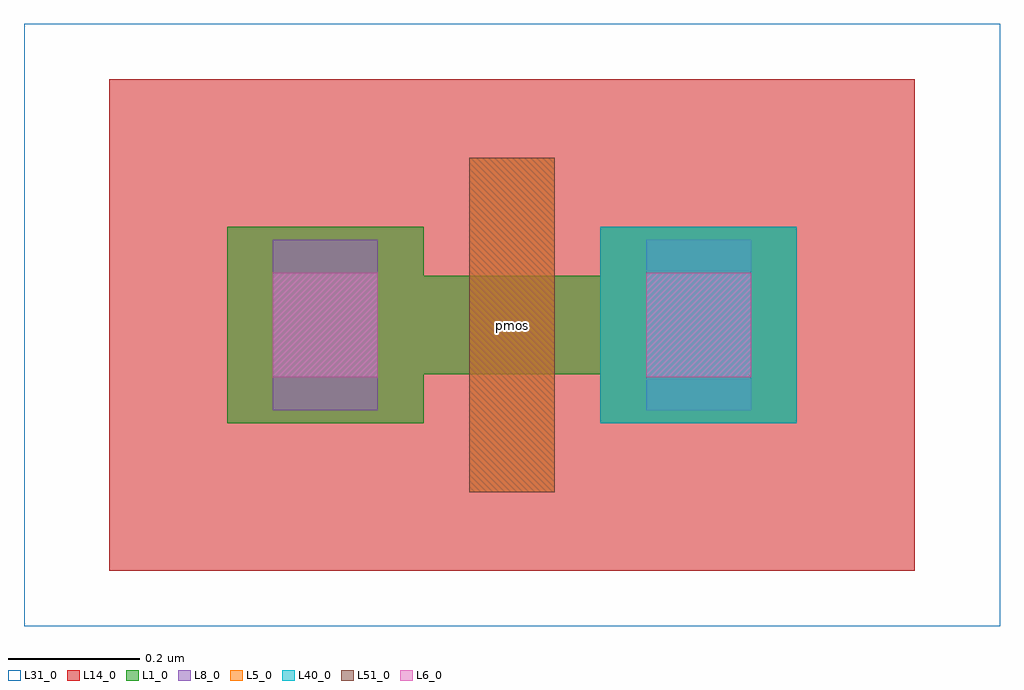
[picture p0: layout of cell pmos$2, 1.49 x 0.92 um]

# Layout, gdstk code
import gdstk
lib = gdstk.Library(unit=1e-6, precision=5e-09)
def R(c, l, rs):  # rectangles x0, y0, x1, y1
    for r in rs: c.add(gdstk.rectangle(r[:2], r[2:], *l))
L1_0 = (1, 0)
L5_0 = (5, 0)
L6_0 = (6, 0)
L8_0 = (8, 0)
L14_0 = (14, 0)
L31_0 = (31, 0)
L40_0 = (40, 0)
L51_0 = (51, 0)

pmos_2 = lib.new_cell('pmos$2')
R(pmos_2, L1_0, [(0,0,0.3,0.3), (0.57,0,0.87,0.3), (0,0.075,0.87,0.225)])
R(pmos_2, L5_0, [(0.37,-0.105,0.5,0.405), (0.37,-0.105,0.5,0.405)])
R(pmos_2, L6_0, [(0.07,0.07,0.23,0.23), (0.64,0.07,0.8,0.23)])
R(pmos_2, L8_0, [(0.07,0.02,0.23,0.28), (0.07,0.02,0.23,0.28), (0.64,0.02,0.8,0.28), (0.64,0.02,0.8,0.28)])
R(pmos_2, L14_0, [(-0.18,-0.225,1.05,0.525)])
R(pmos_2, L31_0, [(-0.31,-0.31,1.18,0.61)])
R(pmos_2, L40_0, [(0.57,0,0.87,0.3)])
R(pmos_2, L51_0, [(0.37,-0.105,0.5,0.405)])
pmos_2.add(gdstk.Label('pmos', (0.435,0.15), layer=63, texttype=0))
pmos_2.add(gdstk.Label('pmos', (0.435,0.15), layer=51, texttype=0))

lib.write_gds('pmos_2.gds')
